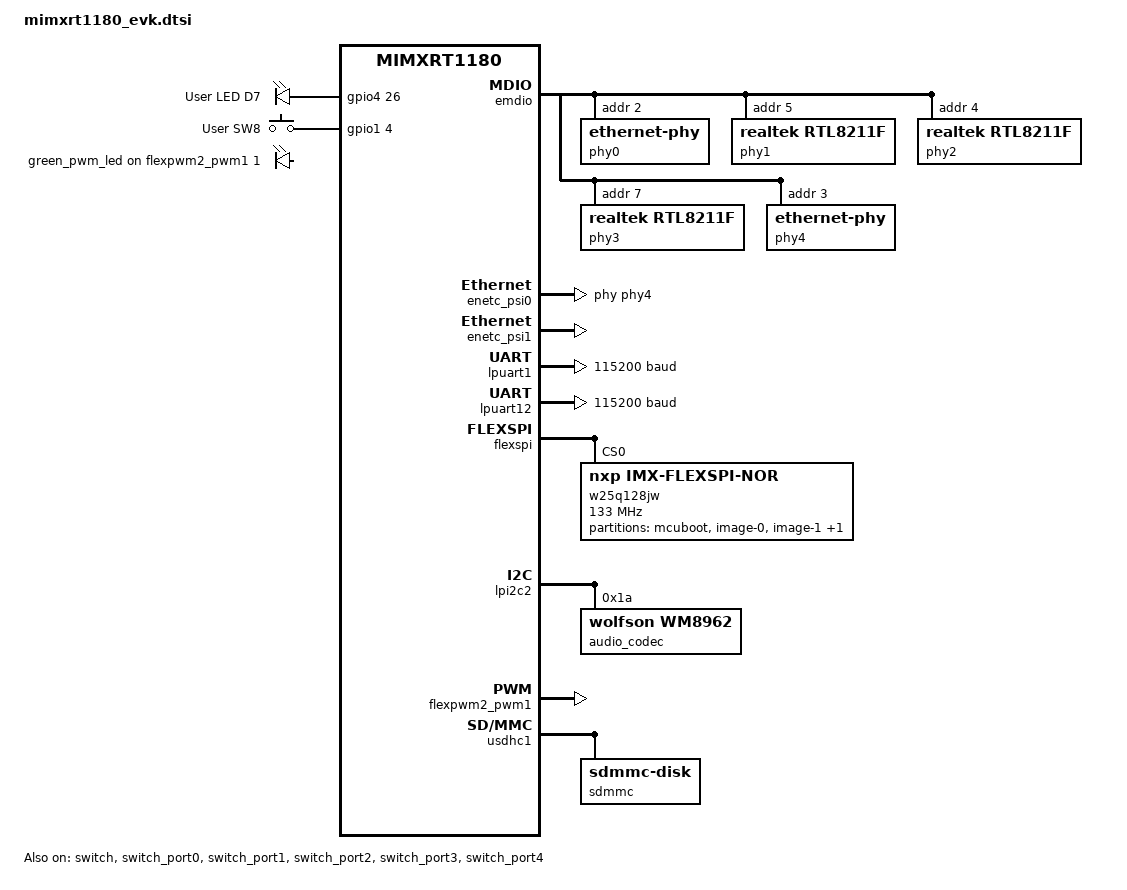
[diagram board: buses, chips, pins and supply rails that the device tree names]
/*
 * Copyright 2024-2025 NXP
 *
 * SPDX-License-Identifier: Apache-2.0
 */

#include "mimxrt1180_evk-pinctrl.dtsi"
#include <zephyr/dt-bindings/input/input-event-codes.h>

/ {
	aliases {
		led0 = &red_led;
		sw0 = &user_button;
		pwm-led0 = &green_pwm_led;
		sdhc0 = &usdhc1;
		i2s-codec-tx = &sai1;
		i2s-tx = &sai1;
	};

	leds {
		compatible = "gpio-leds";

		red_led: led-2 {
			gpios = <&gpio4 26 GPIO_ACTIVE_HIGH>;
			label = "User LED D7";
		};
	};

	gpio_keys {
		compatible = "gpio-keys";

		user_button: button-1 {
			label = "User SW8";
			gpios = <&gpio1 4 (GPIO_PULL_UP | GPIO_ACTIVE_HIGH)>;
			zephyr,code = <INPUT_KEY_0>;
		};
	};

	pwmleds {
		compatible = "pwm-leds";

		green_pwm_led: green_pwm_led {
			pwms = <&flexpwm2_pwm1 1 PWM_MSEC(20) PWM_POLARITY_NORMAL>;
		};
	};
};

&emdio {
	pinctrl-0 = <&emdio_default>;
	pinctrl-names = "default";
	status = "okay";

	phy0: phy@2 {
		compatible = "ethernet-phy";
		reg = <0x2>;
		status = "okay";
	};

	phy1: phy@5 {
		compatible = "realtek,rtl8211f";
		reg = <0x5>;
		status = "okay";
	};

	phy2: phy@4 {
		compatible = "realtek,rtl8211f";
		reg = <0x4>;
		status = "okay";
	};

	phy3: phy@7 {
		compatible = "realtek,rtl8211f";
		reg = <0x7>;
		status = "okay";
	};

	phy4: phy@3 {
		compatible = "ethernet-phy";
		reg = <0x3>;
		status = "okay";
	};
};

&enetc_psi0 {
	local-mac-address = [00 00 00 01 02 00];
	pinctrl-0 = <&eth4_default>;
	pinctrl-names = "default";
	phy-handle = <&phy4>;
	status = "okay";
};

/* Internal port */
&enetc_psi1 {
	local-mac-address = [00 00 00 01 03 00];
	status = "okay";
};

&switch {
	status = "okay";
};

&switch_port0 {
	zephyr,random-mac-address;
	pinctrl-0 = <&eth0_default>;
	pinctrl-names = "default";
	phy-handle = <&phy0>;
	phy-connection-type = "rmii";
	status = "okay";
};

&switch_port1 {
	zephyr,random-mac-address;
	pinctrl-0 = <&eth1_default>;
	pinctrl-names = "default";
	phy-handle = <&phy1>;
	phy-connection-type = "rgmii";
	status = "okay";
};

&switch_port2 {
	zephyr,random-mac-address;
	pinctrl-0 = <&eth2_default>;
	pinctrl-names = "default";
	phy-handle = <&phy2>;
	phy-connection-type = "rgmii";
	status = "okay";
};

&switch_port3 {
	zephyr,random-mac-address;
	pinctrl-0 = <&eth3_default>;
	pinctrl-names = "default";
	phy-handle = <&phy3>;
	phy-connection-type = "rgmii";
	status = "okay";
};

/* Internal port */
&switch_port4 {
	zephyr,random-mac-address;
	status = "okay";
};

&lpuart1 {
	status = "okay";
	current-speed = <115200>;
	pinctrl-0 = <&pinmux_lpuart1>;
	pinctrl-1 = <&pinmux_lpuart1_sleep>;
	pinctrl-names = "default", "sleep";
};

&lpuart12 {
	status = "okay";
	current-speed = <115200>;
	pinctrl-0 = <&pinmux_lpuart12>;
	pinctrl-1 = <&pinmux_lpuart12_sleep>;
	pinctrl-names = "default", "sleep";
};

&lpuart3 {
	pinctrl-0 = <&pinmux_lpuart3>;
	pinctrl-1 = <&pinmux_lpuart3_sleep>;
	pinctrl-names = "default", "sleep";
};

&user_button {
	status = "okay";
};

&gpio1 {
	status = "okay";
};

&gpio4 {
	status = "okay";
};

&flexspi {
	pinctrl-0 = <&pinmux_flexspi1>;
	pinctrl-names = "default";
};

&flexspi {
	status = "okay";
	ahb-prefetch;
	ahb-read-addr-opt;
	rx-clock-source = <1>;

	w25q128jw: w25q128jw@0 {
		compatible = "nxp,imx-flexspi-nor";
		size = <DT_SIZE_M(16*8)>;
		reg = <0>;
		spi-max-frequency = <DT_FREQ_M(133)>;
		status = "okay";
		jedec-id = [ef 60 18];
		erase-block-size = <DT_SIZE_K(4)>;
		write-block-size = <1>;

		partitions {
			compatible = "fixed-partitions";
			#address-cells = <1>;
			#size-cells = <1>;

			/*
			 * Partition sizes must be aligned
			 * to the flash memory sector size of 4KB.
			 */
			boot_partition: partition@0 {
				label = "mcuboot";
				reg = <0x00000000 DT_SIZE_K(128)>;
			};

			slot0_partition: partition@20000 {
				label = "image-0";
				reg = <0x00020000 DT_SIZE_M(7)>;
			};

			slot1_partition: partition@720000 {
				label = "image-1";
				reg = <0x00720000 DT_SIZE_M(7)>;
			};

			storage_partition: partition@E20000 {
				label = "storage";
				reg = <0x00E20000 (DT_SIZE_M(2) - DT_SIZE_K(128))>;
			};
		};
	};
};

&lpi2c2 {
	pinctrl-0 = <&pinmux_lpi2c2>;
	pinctrl-names = "default";
};

&lpi2c3 {
	pinctrl-0 = <&pinmux_lpi2c3>;
	pinctrl-names = "default";
};

&lpadc1 {
	pinctrl-0 = <&pinmux_lpadc1>;
	pinctrl-names = "default";
};

&flexcan3 {
	pinctrl-0 = <&pinmux_flexcan3>;
	pinctrl-names = "default";

	can-transceiver {
		max-bitrate = <5000000>;
	};
};

&flexpwm2_pwm1 {
	status = "okay";
	pinctrl-0 = <&pinmux_flexpwm2>;
	pinctrl-names = "default";
};

&tpm5 {
	pinctrl-0 = <&pinmux_tpm5>;
	pinctrl-names = "default";
};

&i3c2 {
	pinctrl-0 = <&pinmux_i3c2>;
	pinctrl-names = "default";
};

p3t1755dp_ard_i3c_interface: &i3c2 {};

p3t1755dp_ard_i2c_interface: &lpi2c2 {};

&lpspi3 {
	dmas = <&edma4 1 13>, <&edma4 2 12>;
	dma-names = "rx", "tx";
	pinctrl-0 = <&pinmux_lpspi3>;
	pinctrl-names = "default";
};

&usdhc1 {
	status = "okay";
	detect-dat3;
	no-1-8-v;
	pwr-gpios = <&gpio4 14 GPIO_ACTIVE_LOW>;
	pinctrl-0 = <&pinmux_usdhc1>;
	pinctrl-1 = <&pinmux_usdhc1_dat3_nopull>;
	pinctrl-names = "default", "nopull";

	sdmmc {
		compatible = "zephyr,sdmmc-disk";
		disk-name = "SD";
		status = "okay";
	};
};

&sai1 {
	pinctrl-0 = <&pinmux_sai1>;
	pinctrl-names = "default";
};

&lpi2c2 {
	pinctrl-0 = <&pinmux_lpi2c2>;
	pinctrl-names = "default";
	#address-cells = <1>;
	#size-cells = <0>;

	audio_codec: wm8962@1a {
		compatible = "wolfson,wm8962";
		reg = <0x1a>;
		clock-source = "MCLK";
		clocks = <&ccm IMX_CCM_SAI1_CLK 0x2004 4>;
		clock-names = "mclk";
	};

};
